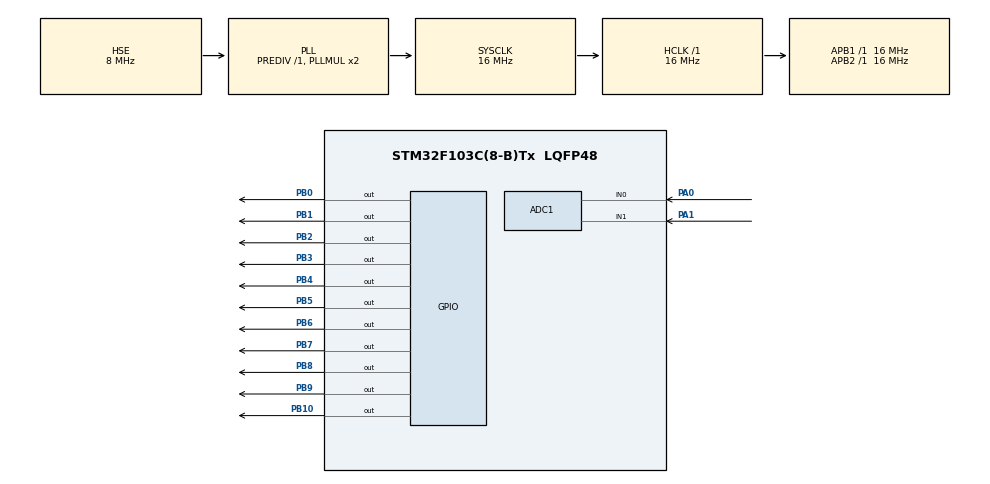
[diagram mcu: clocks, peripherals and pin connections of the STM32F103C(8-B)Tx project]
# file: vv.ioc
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ADC1.Channel-0\#ChannelRegularConversion=ADC_CHANNEL_0
ADC1.Channel-1\#ChannelRegularConversion=ADC_CHANNEL_1
ADC1.NbrOfConversion=2
ADC1.NbrOfConversionFlag=1
ADC1.Rank-0\#ChannelRegularConversion=1
ADC1.Rank-1\#ChannelRegularConversion=2
ADC1.SamplingTime-0\#ChannelRegularConversion=ADC_SAMPLETIME_13CYCLES_5
ADC1.SamplingTime-1\#ChannelRegularConversion=ADC_SAMPLETIME_41CYCLES_5
ADC1.master=1
Mcu.Family=STM32F1
Mcu.Name=STM32F103C(8-B)Tx
Mcu.Package=LQFP48
NVIC.ADC1_2_IRQn=true\:4\:0\:true\:false\:true\:true\:true\:true
NVIC.PriorityGroup=NVIC_PRIORITYGROUP_4
PA0-WKUP.Signal=ADCx_IN0
PA1.Signal=ADCx_IN1
PA13.Mode=Serial_Wire
PA13.Signal=SYS_JTMS-SWDIO
PA14.Mode=Serial_Wire
PA14.Signal=SYS_JTCK-SWCLK
PB0.Signal=GPIO_Output
PB1.Signal=GPIO_Output
PB10.Signal=GPIO_Output
PB2.Signal=GPIO_Output
PB3.Signal=GPIO_Output
PB4.Signal=GPIO_Output
PB5.Signal=GPIO_Output
PB6.Signal=GPIO_Output
PB7.Signal=GPIO_Output
PB8.Signal=GPIO_Output
PB9.Signal=GPIO_Output
PD0-OSC_IN.Mode=HSE-External-Oscillator
PD0-OSC_IN.Signal=RCC_OSC_IN
PD1-OSC_OUT.Mode=HSE-External-Oscillator
PD1-OSC_OUT.Signal=RCC_OSC_OUT
ProjectManager.HeapSize=0x200
ProjectManager.StackSize=0x400
ProjectManager.TargetToolchain=MDK-ARM V5.32
RCC.AHBFreq_Value=16000000
RCC.APB1Freq_Value=16000000
RCC.APB1TimFreq_Value=16000000
RCC.APB2Freq_Value=16000000
RCC.APB2TimFreq_Value=16000000
RCC.HCLKFreq_Value=16000000
RCC.PLLSourceVirtual=RCC_PLLSOURCE_HSE
RCC.SYSCLKFreq_VALUE=16000000
RCC.SYSCLKSource=RCC_SYSCLKSOURCE_PLLCLK
RCC.USBFreq_Value=16000000
SH.ADCx_IN0.0=ADC1_IN0,IN0
SH.ADCx_IN1.0=ADC1_IN1,IN1
board=custom

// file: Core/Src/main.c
/* USER CODE BEGIN Header */
/**
  ******************************************************************************
  * @file           : main.c
  * @brief          : Main program body
  ******************************************************************************
  * @attention
  *
  * Copyright (c) 2025 STMicroelectronics.
  * All rights reserved.
  *
  * This software is licensed under terms that can be found in the LICENSE file
  * in the root directory of this software component.
  * If no LICENSE file comes with this software, it is provided AS-IS.
  *
  ******************************************************************************
  */
/* USER CODE END Header */
#include "main.h"
#include "adc.h"
#include "gpio.h"

/* USER CODE BEGIN Includes */
#include "lcd.h"
#include "stdio.h"
/* USER CODE END Includes */

void SystemClock_Config(void);

/* USER CODE BEGIN 0 */
int val = 0;
void HAL_ADC_ConvCpltCallback(ADC_HandleTypeDef* hadc)
{
    if(hadc->Instance == ADC1)
    {
        uint32_t adc_value = HAL_ADC_GetValue(hadc);
  	hadc1.Init.NbrOfConversion = 1;
		HAL_ADC_Init(&hadc1);
		HAL_ADC_Start(&hadc1);
		if(HAL_ADC_PollForConversion(&hadc1,300) == HAL_OK){
			val = HAL_ADC_GetValue(&hadc1);
		}
		HAL_ADC_Stop(&hadc1);

        HAL_ADC_Start_IT(hadc);
    }
}
/* USER CODE END 0 */

int main(void)
{

  /* MCU Configuration--------------------------------------------------------*/

  /* Reset of all peripherals, Initializes the Flash interface and the Systick. */
  HAL_Init();

  /* Configure the system clock */
  SystemClock_Config();

  /* Initialize all configured peripherals */
  MX_GPIO_Init();
  MX_ADC1_Init();

  /* Infinite loop */
  /* USER CODE BEGIN WHILE */
	int val = 0;
	int val1 =0;
	char str[16];
	char str1[16];
	lcd_init();
  while (1)
  {
    /* USER CODE END WHILE */

    /* USER CODE BEGIN 3 */
//		hadc1.Init.NbrOfConversion = 1;
//		HAL_ADC_Init(&hadc1);
//		HAL_ADC_Start(&hadc1);
//		if(HAL_ADC_PollForConversion(&hadc1,300) == HAL_OK){
//			val = HAL_ADC_GetValue(&hadc1);
//		}
//		HAL_ADC_Stop(&hadc1);
		//================================================
		hadc1.Init.NbrOfConversion = 2;
		HAL_ADC_Init(&hadc1);
		HAL_ADC_Start(&hadc1);
		if(HAL_ADC_PollForConversion(&hadc1,300) == HAL_OK){
			val1 = HAL_ADC_GetValue(&hadc1);
		}
		HAL_ADC_Stop(&hadc1);
		sprintf(str,"val : %d",val);
		sprintf(str1,"val1 : %d",val1);
		lcd_clear();
		lcd_puts(str);
		lcd_gotoxy(0,1);
		lcd_puts(str1);
		HAL_Delay(100);

  }
  /* USER CODE END 3 */
}

void SystemClock_Config(void)
{
  RCC_OscInitTypeDef RCC_OscInitStruct = {0};
  RCC_ClkInitTypeDef RCC_ClkInitStruct = {0};
  RCC_PeriphCLKInitTypeDef PeriphClkInit = {0};

  /** Initializes the RCC Oscillators according to the specified parameters
  * in the RCC_OscInitTypeDef structure.
  */
  RCC_OscInitStruct.OscillatorType = RCC_OSCILLATORTYPE_HSE;
  RCC_OscInitStruct.HSEState = RCC_HSE_ON;
  RCC_OscInitStruct.HSEPredivValue = RCC_HSE_PREDIV_DIV1;
  RCC_OscInitStruct.HSIState = RCC_HSI_ON;
  RCC_OscInitStruct.PLL.PLLState = RCC_PLL_ON;
  RCC_OscInitStruct.PLL.PLLSource = RCC_PLLSOURCE_HSE;
  RCC_OscInitStruct.PLL.PLLMUL = RCC_PLL_MUL2;
  if (HAL_RCC_OscConfig(&RCC_OscInitStruct) != HAL_OK)
  {
    Error_Handler();
  }

  /** Initializes the CPU, AHB and APB buses clocks
  */
  RCC_ClkInitStruct.ClockType = RCC_CLOCKTYPE_HCLK|RCC_CLOCKTYPE_SYSCLK
                              |RCC_CLOCKTYPE_PCLK1|RCC_CLOCKTYPE_PCLK2;
  RCC_ClkInitStruct.SYSCLKSource = RCC_SYSCLKSOURCE_PLLCLK;
  RCC_ClkInitStruct.AHBCLKDivider = RCC_SYSCLK_DIV1;
  RCC_ClkInitStruct.APB1CLKDivider = RCC_HCLK_DIV1;
  RCC_ClkInitStruct.APB2CLKDivider = RCC_HCLK_DIV1;

  if (HAL_RCC_ClockConfig(&RCC_ClkInitStruct, FLASH_LATENCY_0) != HAL_OK)
  {
    Error_Handler();
  }
  PeriphClkInit.PeriphClockSelection = RCC_PERIPHCLK_ADC;
  PeriphClkInit.AdcClockSelection = RCC_ADCPCLK2_DIV2;
  if (HAL_RCCEx_PeriphCLKConfig(&PeriphClkInit) != HAL_OK)
  {
    Error_Handler();
  }
}

void Error_Handler(void)
{
  __disable_irq();
  while (1)
  {
  }
}
